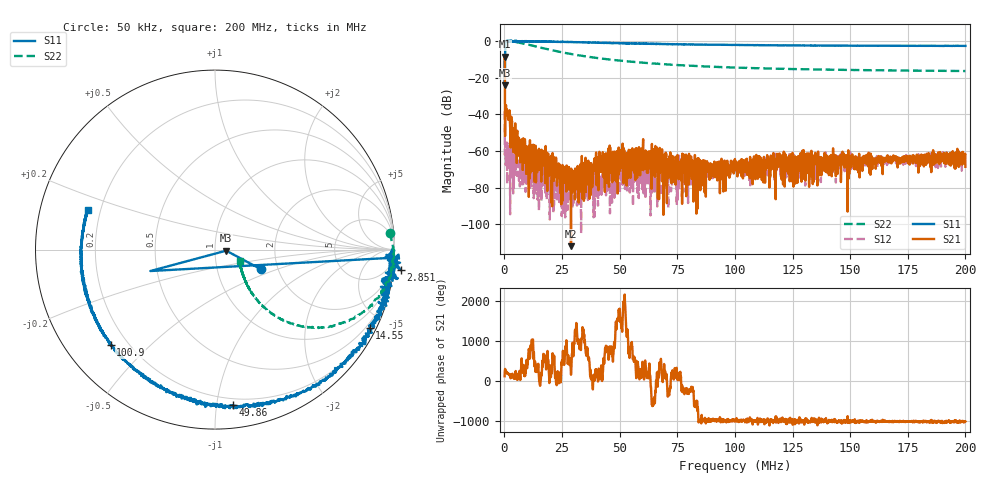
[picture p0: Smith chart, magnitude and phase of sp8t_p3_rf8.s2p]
! 26-Feb-26 11:47:19 AM
! E:\VNA_MEASUREMENTS\SP8T\SP8T_P3_RF8.S2P
! CHANNEL.1
! TR.MEASUREMENT
! CORRECTED.DATA
# GHZ S RI R 50.0
! FREQ.GHZ  S11RE  S11IM  S21RE  S21IM  S12RE  S12IM  S22RE  S22IM
!; PortSelection: Port_12
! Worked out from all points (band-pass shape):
!   2000 points, 50 kHz to 200 MHz, reference 50 ohm
!   highest |S21| = -8.45 dB at 150 kHz (marker M1); lowest = -112.0 dB at 28.86 MHz (marker M2)
!   |S21| within 3 dB of the highest: start of sweep to 156.9 kHz
!   lowest |S11| = -24.1 dB at 150 kHz (marker M3), VSWR 1.13, Z = 56.6 - j0.684 ohm
!   |S11| at or under -10 dB: start of sweep to 239.9 kHz
!   |S22| runs from -16.4 to 0.0 dB; largest |S21 - S12| = 0.38
!   S11 on the Smith chart (normalised r, x): 50 kHz: 1.63, -0.38; 2.851 MHz: -6, -16; 14.55 MHz: 0.31, -4.15; 49.86 MHz: 0.15, -1.11; 100.9 MHz: 0.14, -0.38; 200 MHz: 0.15, +0.15
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5e-05  0.2543 -0.1084  -0.16 0.2934  0.0119 -0.00235  0.9737 0.0952
0.000150025  0.0623 -0.00601  -0.1467 -0.3485  -0.000694 -0.000362  0.9973 -0.0086
0.0012503  0.9551 -0.0292  -0.0128 -0.000394  0.00155 0.000509  0.9954 -0.0826
0.0028507  1.036 -0.1149  -0.00303 0.00123  -0.000134 0.000417  0.9588 -0.1695
0.004351076  0.9521 -0.1292  -0.00114 0.00191  0.000139 -0.000698  0.9174 -0.2474
0.0104526  0.9363 -0.3065  0.000943 -2.37e-05  -0.000205 -3.01e-05  0.6777 -0.4212
0.01455363  0.8615 -0.4381  0.000638 0.000113  6.49e-05 0.000361  0.5375 -0.4345
0.01745435  0.8199 -0.5214  -0.000536 5.82e-05  -0.000296 -0.000131  0.458 -0.4233
0.02375593  0.6912 -0.6543  -0.000275 2.55e-05  -9.8e-06 3.69e-05  0.3461 -0.3746
0.0288572  0.5803 -0.7407  -2.3e-06 1e-06  -3.15e-05 0.000114  0.2902 -0.3376
0.03345835  0.4722 -0.7993  0.000145 -0.000128  -8.9e-05 4.32e-05  0.2558 -0.3057
0.04986246  0.0988 -0.8677  0.000349 -0.000246  1.94e-05 0.000289  0.1928 -0.2227
0.06026506  -0.1014 -0.853  -0.000254 0.000159  -0.000197 0.000327  0.175 -0.1876
0.06676668  -0.2137 -0.8136  -0.000156 -3.82e-05  -6.31e-05 0.000477  0.1679 -0.1711
0.08047011  -0.3983 -0.7038  -5.79e-05 0.000694  -0.000202 0.000405  0.1569 -0.1442
0.08297074  -0.4248 -0.6852  7.05e-05 0.000196  -9.23e-05 0.000185  0.1565 -0.1393
0.08647161  -0.4583 -0.6523  -0.000331 0.000419  -1.21e-05 0.000258  0.1543 -0.1349
0.100075  -0.578 -0.5367  -6.17e-05 0.000338  -0.000161 0.000358  0.1484 -0.1174
0.1008752  -0.5821 -0.5332  -5.03e-05 0.000346  2.7e-05 0.000302  0.1485 -0.1172
0.1333833  -0.7198 -0.2477  0.000141 0.000282  -0.000185 0.000271  0.143 -0.0904
0.1666917  -0.7455 0.00926  0.000252 0.000573  8.8e-06 0.000462  0.1402 -0.0747
0.2  -0.7062 0.2203  8.95e-05 0.000358  0.000251 0.000568  0.1386 -0.0631
